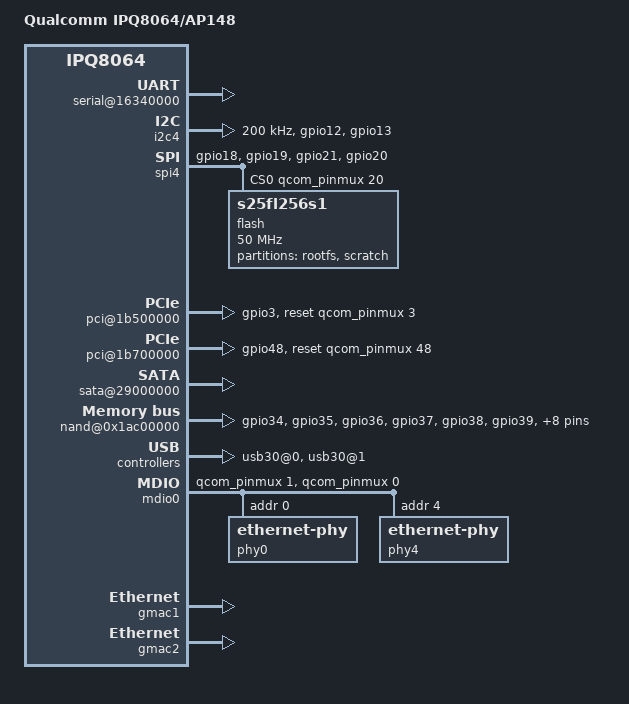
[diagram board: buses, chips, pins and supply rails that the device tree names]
#include "qcom-ipq8064-v1.0.dtsi"

/ {
	model = "Qualcomm IPQ8064/AP148";
	compatible = "qcom,ipq8064-ap148", "qcom,ipq8064";

	reserved-memory {
		#address-cells = <1>;
		#size-cells = <1>;
		ranges;
		rsvd@41200000 {
			reg = <0x41200000 0x300000>;
			no-map;
		};
	};

	aliases {
		mdio-gpio0 = &mdio0;
	};

	soc {
		pinmux@800000 {
			pinctrl-0 = <&mdio0_pins_default &rgmii2_pins_default>;
			pinctrl-names = "default";

			i2c4_pins: i2c4_pinmux {
				pins = "gpio12", "gpio13";
				function = "gsbi4";
				bias-disable;
			};

			pcie1_pins: pcie1_pinmux {
				mux {
					pins = "gpio3";
					drive-strength = <2>;
					bias-disable;
				};
			};

			pcie2_pins: pcie2_pinmux {
				mux {
					pins = "gpio48";
					drive-strength = <2>;
					bias-disable;
				};
			};

			spi_pins: spi_pins {
				mux {
					pins = "gpio18", "gpio19", "gpio21";
					function = "gsbi5";
					drive-strength = <10>;
					bias-none;
				};
				cs {
					pins = "gpio20";
					drive-strength = <12>;
				};
			};

			nand_pins: nand_pins {
				mux {
					pins = "gpio34", "gpio35", "gpio36",
						"gpio37", "gpio38", "gpio39",
						"gpio40", "gpio41", "gpio42",
						"gpio43", "gpio44", "gpio45",
						"gpio46", "gpio47";
					function = "nand";
					drive-strength = <10>;
					bias-disable;
				};
				pullups {
					pins = "gpio39";
					bias-pull-up;
				};
				hold {
					pins = "gpio40", "gpio41", "gpio42",
						"gpio43", "gpio44", "gpio45",
						"gpio46", "gpio47";
					bias-bus-hold;
				};
			};

			mdio0_pins_default: mdio0_pins_default {
				mux {
					pins = "gpio0", "gpio1";
					function = "mdio";
					drive-strength = <8>;
					bias-disable;
				};

				clk {
					pins = "gpio1";
					input-disable;
				};
			};

			rgmii2_pins_default: rgmii2_pins_default {
				mux {
					pins = "gpio27", "gpio28", "gpio29", "gpio30", "gpio31", "gpio32",
					       "gpio51", "gpio52", "gpio59", "gpio60", "gpio61", "gpio62" ;
					function = "rgmii2";
					drive-strength = <8>;
					bias-disable;
				};

				tx {
					pins = "gpio27", "gpio28", "gpio29", "gpio30", "gpio31", "gpio32" ;
					input-disable;
				};
			};
		};

		gsbi@16300000 {
			qcom,mode = <GSBI_PROT_I2C_UART>;
			status = "ok";
			serial@16340000 {
				status = "ok";
			};

			i2c4: i2c@16380000 {
				status = "ok";

				clock-frequency = <200000>;

				pinctrl-0 = <&i2c4_pins>;
				pinctrl-names = "default";
			};
		};

		gsbi5: gsbi@1a200000 {
			qcom,mode = <GSBI_PROT_SPI>;
			status = "ok";

			spi4: spi@1a280000 {
				status = "ok";
				spi-max-frequency = <50000000>;

				pinctrl-0 = <&spi_pins>;
				pinctrl-names = "default";

				cs-gpios = <&qcom_pinmux 20 0>;

				dmas = <&adm_dma 6 9>,
					<&adm_dma 5 10>;
				dma-names = "rx", "tx";

				flash: m25p80@0 {
					compatible = "s25fl256s1";
					#address-cells = <1>;
					#size-cells = <1>;
					spi-max-frequency = <50000000>;
					reg = <0>;
					m25p,fast-read;

					partition@0 {
						label = "rootfs";
						reg = <0x0 0x1000000>;
					};

					partition@1 {
						label = "scratch";
						reg = <0x1000000 0x1000000>;
					};
				};
			};
		};

		pci@1b500000 {
			status = "ok";
			reset-gpio = <&qcom_pinmux 3 0>;
			pinctrl-0 = <&pcie1_pins>;
			pinctrl-names = "default";

			ranges = <0x00000000 0 0x00000000 0x0ff00000 0 0x00100000   /* configuration space */
				  0x81000000 0 0	  0x0fe00000 0 0x00100000   /* downstream I/O */
				  0x82000000 0 0x00000000 0x08000000 0 0x07e00000>; /* non-prefetchable memory */
		};

		pci@1b700000 {
			status = "ok";
			reset-gpio = <&qcom_pinmux 48 0>;
			pinctrl-0 = <&pcie2_pins>;
			pinctrl-names = "default";

			ranges = <0x00000000 0 0x00000000 0x31f00000 0 0x00100000   /* configuration space */
				  0x81000000 0 0	  0x31e00000 0 0x00100000   /* downstream I/O */
				  0x82000000 0 0x00000000 0x2e000000 0 0x03e00000>; /* non-prefetchable memory */

		};


		sata-phy@1b400000 {
			status = "ok";
		};

		sata@29000000 {
			status = "ok";
		};

		dma@18300000 {
			status = "ok";
		};

		nand@0x1ac00000 {
			status = "ok";

			pinctrl-0 = <&nand_pins>;
			pinctrl-names = "default";
		};

		tcsr@1a400000 {
			status = "ok";
			qcom,usb-ctrl-select = <TCSR_USB_SELECT_USB3_DUAL>;
		};

		phy@100f8800 {		/* USB3 port 1 HS phy */
			status = "ok";
		};

		phy@100f8830 {		/* USB3 port 1 SS phy */
			status = "ok";
		};

		phy@110f8800 {		/* USB3 port 0 HS phy */
			status = "ok";
		};

		phy@110f8830 {		/* USB3 port 0 SS phy */
			status = "ok";
		};

		usb30@0 {
			status = "ok";
		};

		usb30@1 {
			status = "ok";
		};

		mdio0: mdio {
			compatible = "virtual,mdio-gpio";
			#address-cells = <1>;
			#size-cells = <0>;
			gpios = <&qcom_pinmux 1 0 &qcom_pinmux 0 0>;

			phy0: ethernet-phy@0 {
				device_type = "ethernet-phy";
				reg = <0>;
				qca,ar8327-initvals = <
					0x00004 0x7600000   /* PAD0_MODE */
					0x00008 0x1000000   /* PAD5_MODE */
					0x0000c 0x80        /* PAD6_MODE */
					0x000e4 0xaa545     /* MAC_POWER_SEL */
					0x000e0 0xc74164de  /* SGMII_CTRL */
					0x0007c 0x4e        /* PORT0_STATUS */
					0x00094 0x4e        /* PORT6_STATUS */
				>;
			};

			phy4: ethernet-phy@4 {
				device_type = "ethernet-phy";
				reg = <4>;
			};
		};

		nss0: nss@40000000 {
			compatible = "qcom,nss0";
			interrupts = <0 213 0x4>;
			reg = <0x36000000 0x1000 0x39000000 0x20000>;
			reg-names = "nphys", "vphys";
			clocks = <&gcc NSS_CORE_CLK>, <&gcc NSSTCM_CLK_SRC>, <&gcc NSSTCM_CLK>;
			clock-names = "nss_core_clk", "nss_tcm_src", "nss_tcm_clk";
			resets = <&gcc UBI32_CORE1_CLKRST_CLAMP_RESET>,
				 <&gcc UBI32_CORE1_CLAMP_RESET>,
				 <&gcc UBI32_CORE1_AHB_RESET>,
				 <&gcc UBI32_CORE1_AXI_RESET>;
			reset-names = "clkrst_clamp", "clamp", "ahb", "axi";
			qcom,id = <0>;
			qcom,num_irq = <1>;
			qcom,rst_addr = <0x40000000>;
			qcom,load_addr = <0x40000000>;
			qcom,turbo_frequency = <1>;
			qcom,ipv4_enabled = <1>;
			qcom,ipv6_enabled = <1>;
			qcom,l2switch_enabled = <1>;
			qcom,crypto_enabled = <0>;
			qcom,ipsec_enabled = <0>;
			qcom,wlan_enabled = <0>;
			qcom,tun6rd_enabled = <1>;
			qcom,tunipip6_enabled = <1>;
			qcom,shaping_enabled = <1>;
			qcom,gmac0_enabled = <1>;
			qcom,gmac1_enabled = <1>;
			qcom,gmac2_enabled = <1>;
			qcom,gmac3_enabled = <1>;
		};

		nss-gmac-common {
			reg = <0x03000000 0x0000FFFF 0x1bb00000 0x0000FFFF 0x00900000 0x00004000>;
			reg-names = "nss_reg_base" , "qsgmii_reg_base", "clk_ctl_base";
		};

		gmac1: ethernet@37200000 {
			device_type = "network";
			compatible = "qcom,nss-gmac1";
			reg = <0x37200000 0x200000>;
			qcom,id = <1>;
			qcom,phy_mdio_addr = <4>;
			qcom,poll_required = <1>;
			qcom,rgmii_delay = <0>;
			qcom,phy_mii_type = <0>;
			qcom,emulation = <0>;
			qcom,forced_speed = <1000>;
			qcom,forced_duplex = <1>;
			local-mac-address = [000000000000];
			mdiobus = <&mdio0>;
		};

		gmac2: ethernet@37400000 {
			device_type = "network";
			compatible = "qcom,nss-gmac2";
			reg = <0x37400000 0x200000>;
			qcom,id = <2>;
			qcom,phy_mdio_addr = <0>;
			qcom,poll_required = <0>;
			qcom,rgmii_delay = <0>;
			qcom,phy_mii_type = <1>;
			qcom,emulation = <0>;
			qcom,forced_speed = <1000>;
			qcom,forced_duplex = <1>;
			local-mac-address = [000000000000];
			mdiobus = <&mdio0>;
		};
	};
};
